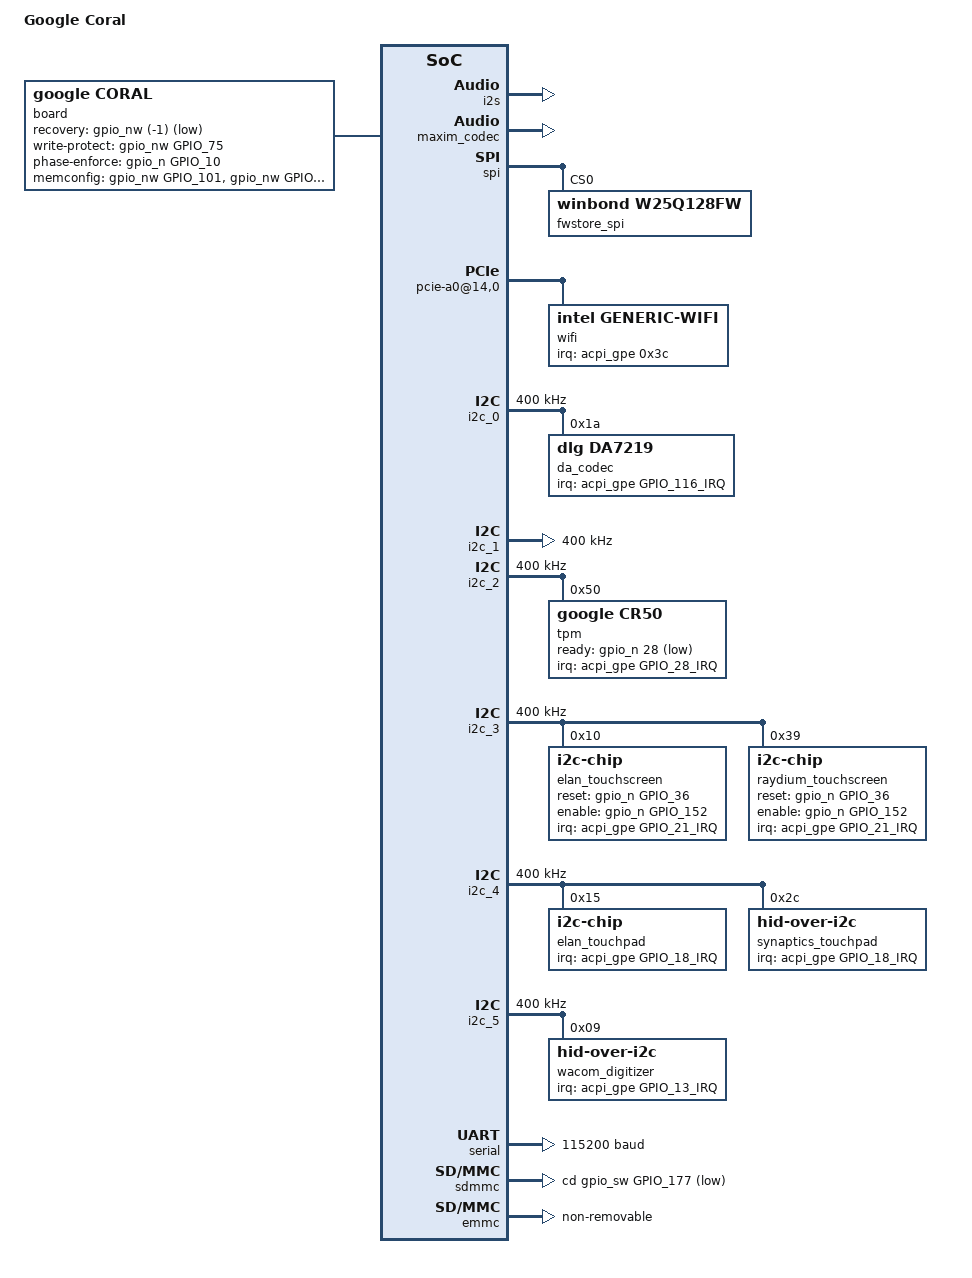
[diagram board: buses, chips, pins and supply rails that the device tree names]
/* SPDX-License-Identifier: GPL-2.0 */
/dts-v1/;

#include <dt-bindings/gpio/gpio.h>
#include <dt-bindings/gpio/x86-gpio.h>

/include/ "skeleton.dtsi"
/include/ "keyboard.dtsi"
/include/ "reset.dtsi"
/include/ "rtc.dtsi"

#include "tsc_timer.dtsi"

#if defined(CONFIG_CHROMEOS_VBOOT) && defined(CONFIG_ROM_SIZE)
#include "chromeos-x86.dtsi"
#include "flashmap-x86-ro.dtsi"
#include "flashmap-16mb-rw.dtsi"
#endif

#include <dt-bindings/clock/intel-clock.h>
#include <dt-bindings/interrupt-controller/irq.h>
#include <dt-bindings/interrupt-controller/x86-irq.h>
#include <asm/e820.h>
#include <asm/intel_pinctrl_defs.h>
#include <asm/arch-apollolake/cpu.h>
#include <asm/arch-apollolake/gpe.h>
#include <asm/arch-apollolake/gpio.h>
#include <asm/arch-apollolake/iomap.h>
#include <asm/arch-apollolake/pm.h>
#include <dt-bindings/clock/intel-clock.h>
#include <asm/arch-apollolake/fsp/fsp_m_upd.h>
#include <asm/arch-apollolake/fsp/fsp_s_upd.h>
#include <dt-bindings/sound/nhlt.h>

/ {
	model = "Google Coral";
	compatible = "google,coral", "intel,apollolake";

	aliases {
		cros-ec0 = &cros_ec;
		fsp = &fsp_s;
		spi0 = &spi;
		i2c0 = &i2c_0;
		i2c1 = &i2c_1;
		i2c2 = &i2c_2;
		i2c3 = &i2c_3;
		i2c4 = &i2c_4;
		i2c5 = &i2c_5;
		i2c6 = &i2c_6;
		i2c7 = &i2c_7;
		mmc0 = &emmc;
		mmc1 = &sdmmc;
	};

	board: board {
		compatible = "google,coral";
		recovery-gpios = <&gpio_nw (-1) GPIO_ACTIVE_LOW>;
		write-protect-gpios = <&gpio_nw GPIO_75 GPIO_ACTIVE_HIGH>;
		phase-enforce-gpios = <&gpio_n GPIO_10 GPIO_ACTIVE_HIGH>;
		memconfig-gpios = <&gpio_nw GPIO_101 GPIO_ACTIVE_HIGH
			&gpio_nw GPIO_102 GPIO_ACTIVE_HIGH
			&gpio_n GPIO_38 GPIO_ACTIVE_HIGH
			&gpio_n GPIO_45 GPIO_ACTIVE_HIGH>;

		/*
		 * This is used for reef only:
		 *
		 * skuconfig-gpios = <&gpio_nw GPIO_16 GPIO_ACTIVE_HIGH
		 *	&gpio_nw GPIO_17 GPIO_ACTIVE_HIGH>;
		 */
		smbios {
			/* Type 1 table */
			system {
				manufacturer = "Google";
				product = "Coral";
				version = "rev2";
				serial = "123456789";
				sku = "sku3";
				family = "Google_Coral";
			};

			/* Type 2 table */
			baseboard {
				manufacturer = "Google";
				product = "Coral";
				asset-tag = "ABC123";
			};

			/* Type 3 table */
			chassis {
				manufacturer = "Google";
			};
		};
	};

	config {
	       silent_console = <0>;
	};

	chosen {
		stdout-path = &serial;
		e820-entries = /bits/ 64 <
			IOMAP_P2SB_BAR IOMAP_P2SB_SIZE E820_RESERVED
			MCH_BASE_ADDRESS     MCH_SIZE  E820_RESERVED>;
		u-boot,acpi-ssdt-order = <&cpu_0 &cpu_1 &cpu_2 &cpu_3
			&i2c_0 &i2c_1 &i2c_2 &i2c_3 &i2c_4 &i2c_5
			&sdmmc &maxim_codec &wifi &da_codec &tpm
			&elan_touchscreen &raydium_touchscreen
			&elan_touchpad &synaptics_touchpad &wacom_digitizer>;
		u-boot,acpi-dsdt-order = <&board &lpc>;
	};

	clk: clock {
		compatible = "intel,apl-clk";
		#clock-cells = <1>;
		bootph-some-ram;
	};

	cpus {
		bootph-some-ram;
		#address-cells = <1>;
		#size-cells = <0>;

		cpu_0: cpu@0 {
			bootph-some-ram;
			bootph-pre-ram;
			device_type = "cpu";
			compatible = "intel,apl-cpu";
			reg = <0>;
			intel,apic-id = <0>;
		};

		cpu_1: cpu@1 {
			device_type = "cpu";
			compatible = "intel,apl-cpu";
			reg = <1>;
			intel,apic-id = <2>;
		};

		cpu_2: cpu@2 {
			device_type = "cpu";
			compatible = "intel,apl-cpu";
			reg = <2>;
			intel,apic-id = <4>;
		};

		cpu_3: cpu@3 {
			device_type = "cpu";
			compatible = "intel,apl-cpu";
			reg = <3>;
			intel,apic-id = <6>;
		};

	};

	acpi_gpe: general-purpose-events {
		bootph-some-ram;
		reg = <IOMAP_ACPI_BASE IOMAP_ACPI_SIZE>;
		compatible = "intel,acpi-gpe";
		interrupt-controller;
		#interrupt-cells = <2>;
	};

	coreboot-video {
		/* This will only activate when booted from coreboot */
		compatible = "coreboot-fb";
	};

	keyboard {
		intel,duplicate-por;
	};

	pci {
		compatible = "pci-x86";
		#address-cells = <3>;
		#size-cells = <2>;
		bootph-all;
		ranges = <0x02000000 0x0 0xc0000000 0xc0000000 0 0x10000000
			0x42000000 0x0 0xb0000000 0xb0000000 0 0x10000000
			0x01000000 0x0 0x1000 0x1000 0 0xefff>;
		u-boot,skip-auto-config-until-reloc;

		host_bridge: host-bridge@0,0 {
			bootph-all;
			reg = <0x00000000 0 0 0 0>;
			compatible = "intel,apl-hostbridge";
			pciex-region-size = <0x10000000>;
			fspm,training-delay = <21>;
			/*
			 * Parameters used by the FSP-S binary blob. This is
			 * really unfortunate since these parameters mostly
			 * relate to drivers but we need them in one place. We
			 * could put them in the driver nodes easily, but then
			 * would have to scan each node to find them. So just
			 * dump them here for now.
			 */
			fsp_s: fsp-s {
			};
			fsp_m: fsp-m {
				bootph-pre-ram;
			};

			nhlt {
				intel,dmic-channels = <4>;
			};
		};

		punit@0,1 {
			bootph-some-ram;
			bootph-pre-ram;
			reg = <0x00000800 0 0 0 0>;
			compatible = "intel,apl-punit";
		};

		gma@2,0 {
			bootph-some-ram;
			reg = <0x00001000 0 0 0 0>;
			compatible = "fsp-fb";
		};

		p2sb: p2sb@d,0 {
			bootph-all;
			reg = <0x02006810 0 0 0 0>;
			compatible = "intel,p2sb";
			early-regs = <IOMAP_P2SB_BAR 0x100000>;
			pci,no-autoconfig;

			n {
				compatible = "intel,apl-pinctrl";
				bootph-all;
				intel,p2sb-port-id = <PID_GPIO_N>;
				acpi,path = "\\_SB.GPO0";
				gpio_n: gpio-n {
					compatible = "intel,gpio";
					bootph-all;
					gpio-controller;
					#gpio-cells = <2>;
					linux-name = "INT3452:00";
				};
			};

			nw {
				bootph-all;
				compatible = "intel,apl-pinctrl";
				intel,p2sb-port-id = <PID_GPIO_NW>;
				#gpio-cells = <2>;
				acpi,path = "\\_SB.GPO1";
				gpio_nw: gpio-nw {
					compatible = "intel,gpio";
					bootph-all;
					gpio-controller;
					#gpio-cells = <2>;
					linux-name = "INT3452:01";
				};
			};

			w {
				bootph-all;
				compatible = "intel,apl-pinctrl";
				intel,p2sb-port-id = <PID_GPIO_W>;
				#gpio-cells = <2>;
				acpi,path = "\\_SB.GPO2";
				gpio_w: gpio-w {
					compatible = "intel,gpio";
					bootph-all;
					gpio-controller;
					#gpio-cells = <2>;
					linux-name = "INT3452:02";
				};
			};

			sw {
				bootph-all;
				compatible = "intel,apl-pinctrl";
				intel,p2sb-port-id = <PID_GPIO_SW>;
				#gpio-cells = <2>;
				acpi,path = "\\_SB.GPO3";
				gpio_sw: gpio-sw {
					compatible = "intel,gpio";
					bootph-all;
					gpio-controller;
					#gpio-cells = <2>;
					linux-name = "INT3452:03";
				};
			};

			itss {
				bootph-all;
				compatible = "intel,itss";
				intel,p2sb-port-id = <PID_ITSS>;
				intel,pmc-routes = <
					PMC_GPE_SW_31_0 GPIO_GPE_SW_31_0
					PMC_GPE_SW_63_32 GPIO_GPE_SW_63_32
					PMC_GPE_NW_31_0 GPIO_GPE_NW_31_0
					PMC_GPE_NW_63_32 GPIO_GPE_NW_63_32
					PMC_GPE_NW_95_64 GPIO_GPE_NW_95_64
					PMC_GPE_N_31_0 GPIO_GPE_N_31_0
					PMC_GPE_N_63_32 GPIO_GPE_N_63_32
					PMC_GPE_W_31_0 GPIO_GPE_W_31_0>;
			};
		};

		pmc@d,1 {
			bootph-all;
			reg = <0x6900 0 0 0 0>;

			/*
			 * Values for BAR0, BAR2 and ACPI_BASE for when PCI
			 * auto-configure is not available
			 */
			early-regs = <0xfe042000 0x2000
				0xfe044000 0x2000
				IOMAP_ACPI_BASE IOMAP_ACPI_SIZE>;
			compatible = "intel,apl-pmc";
			gpe0-dwx-mask = <0xf>;
			gpe0-dwx-shift-base = <4>;

			/*
			 * GPE configuration
			 * Note that GPE events called out in ASL code rely on
			 * this route, i.e., if this route changes then the
			 * affected GPE * offset bits also need to be changed.
			 * This sets the PMC register GPE_CFG fields.
			 */
			gpe0-dw = <PMC_GPE_N_31_0
				PMC_GPE_N_63_32
				PMC_GPE_SW_31_0>;
			gpe0-sts = <0x20>;
			gpe0-en = <0x30>;
		};

		audio@e,0 {
			reg = <0x7000 0 0 0 0>;
			compatible = "simple-bus";
			acpi,name = "HDAS";
			i2s {
				compatible = "fred";
			};
			maxim_codec: maxim-codec {
				compatible = "maxim,max98357a";
				acpi,ddn = "Maxim Integrated 98357A Amplifier";
				sdmode-gpios = <&gpio_n GPIO_76 GPIO_ACTIVE_HIGH>;
				sdmode-delay = <5>;
				acpi,name = "MAXM";
				acpi,hid = "MX98357A";
				acpi,audio-link = <AUDIO_LINK_SSP5>;
			};
		};

		spi: fast-spi@d,2 {
			bootph-some-ram;
			bootph-pre-ram;
			reg = <0x02006a10 0 0 0 0>;
			#address-cells = <1>;
			#size-cells = <0>;
			compatible = "intel,fast-spi";
			early-regs = <IOMAP_SPI_BASE 0x1000>;
			intel,hardware-seq = <1>;

			fwstore_spi: spi-flash@0 {
				#size-cells = <1>;
				#address-cells = <1>;
				bootph-some-ram;
				bootph-pre-ram;
				reg = <0>;
				m25p,fast-read;
				compatible = "winbond,w25q128fw",
					 "jedec,spi-nor";
				rw-mrc-cache {
					label = "rw-mrc-cache";
					reg = <0x008e0000 0x00010000>;
					bootph-some-ram;
					bootph-pre-ram;
				};
				rw-var-mrc-cache {
					label = "rw-mrc-cache";
					reg = <0x008f0000 0x0001000>;
					bootph-some-ram;
					bootph-pre-ram;
				};
			};
		};

		/* WiFi */
		pcie-a0@14,0 {
			reg = <0x0000a000 0 0 0 0>;
			acpi,name = "RP01";
			wifi: wifi {
				compatible = "intel,generic-wifi";
				acpi,ddn = "Intel WiFi";
				acpi,name = "WF00";
				acpi,wake = <GPE0_DW3_00>;
				interrupts-extended = <&acpi_gpe 0x3c 0>;
			};
		};

		i2c_0: i2c2@16,0 {
			compatible = "intel,apl-i2c";
			reg = <0x0200b010 0 0 0 0>;
			clocks = <&clk CLK_I2C>;
			i2c-scl-rising-time-ns = <104>;
			i2c-scl-falling-time-ns = <52>;
			clock-frequency = <400000>;
			i2c,speeds = <100000 400000 1000000>;
			#address-cells = <1>;
			#size-cells = <0>;
			da_codec: da-codec {
				reg = <0x1a>;
				compatible = "dlg,da7219";
				interrupts-extended = <&acpi_gpe GPIO_116_IRQ
					(IRQ_TYPE_LEVEL_LOW | X86_IRQ_TYPE_SHARED)>;
				acpi,name = "DLG7";
				acpi,ddn = "Dialog Semiconductor DA7219 Audio Codec";
				acpi,audio-link = <AUDIO_LINK_SSP1>;
				dlg,micbias-lvl = <2600>;
				dlg,mic-amp-in-sel = "diff";
				da7219_aad {
					dlg,btn-cfg = <50>;
					dlg,mic-det-thr = <500>;
					dlg,jack-ins-deb = <20>;
					dlg,jack-det-rate = "32ms_64ms";
					dlg,jack-rem-deb = <1>;
					dlg,a-d-btn-thr = <0xa>;
					dlg,d-b-btn-thr = <0x16>;
					dlg,b-c-btn-thr = <0x21>;
					dlg,c-mic-btn-thr = <0x3e>;
					dlg,btn-avg = <4>;
					dlg,adc-1bit-rpt = <1>;
				};
			};
		};

		i2c_1: i2c2@16,1 {
			compatible = "intel,apl-i2c";
			reg = <0x0200b110 0 0 0 0>;
			clocks = <&clk CLK_I2C>;
			clock-frequency = <400000>;
			i2c,speeds = <100000 400000 1000000 3400000>;
			i2c-scl-rising-time-ns = <52>;
			i2c-scl-falling-time-ns = <52>;
		};

		i2c_2: i2c2@16,2 {
			compatible = "intel,apl-i2c", "snps,designware-i2c-pci";
			reg = <0x0200b210 0 0 0 0>;
			early-regs = <IOMAP_I2C2_BASE 0x1000>;
			bootph-some-ram;
			#address-cells = <1>;
			#size-cells = <0>;
			clock-frequency = <400000>;
			i2c,speeds = <100000 400000 1000000>;
			clocks = <&clk CLK_I2C>;
			i2c-scl-rising-time-ns = <57>;
			i2c-scl-falling-time-ns = <28>;
			tpm: tpm@50 {
				reg = <0x50>;
				compatible = "google,cr50";
				bootph-some-ram;
				u-boot,i2c-offset-len = <0>;
				ready-gpios = <&gpio_n 28 GPIO_ACTIVE_LOW>;
				interrupts-extended = <&acpi_gpe GPIO_28_IRQ
					 IRQ_TYPE_EDGE_FALLING>;
				acpi,hid = "GOOG0005";
				acpi,ddn = "I2C TPM";
				acpi,name = "TPMI";
			};
		};

		i2c_3: i2c2@16,3 {
			compatible = "intel,apl-i2c";
			reg = <0x0200b310 0 0 0 0>;
			#address-cells = <1>;
			#size-cells = <0>;
			clocks = <&clk CLK_I2C>;
			i2c-scl-rising-time-ns = <76>;
			i2c-scl-falling-time-ns = <164>;
			clock-frequency = <400000>;
			i2c,speeds = <100000 400000>;
			elan_touchscreen: elan-touchscreen@10 {
				compatible = "i2c-chip";
				reg = <0x10>;
				acpi,hid = "ELAN0001";
				acpi,ddn = "ELAN Touchscreen";
				interrupts-extended = <&acpi_gpe GPIO_21_IRQ
					IRQ_TYPE_EDGE_FALLING>;
				linux,probed;
				reset-gpios = <&gpio_n GPIO_36 GPIO_ACTIVE_HIGH>;
				reset-delay-ms = <20>;
				enable-gpios = <&gpio_n GPIO_152 GPIO_ACTIVE_HIGH>;
				enable-delay-ms = <1>;
				acpi,has-power-resource;
			};

			raydium_touchscreen: raydium-touchscreen@39 {
				compatible = "i2c-chip";
				reg = <0x39>;
				acpi,hid = "RAYD0001";
				acpi,ddn = "Raydium Touchscreen";
				interrupts-extended = <&acpi_gpe GPIO_21_IRQ
					IRQ_TYPE_EDGE_FALLING>;
				linux,probed;
				reset-gpios = <&gpio_n GPIO_36 GPIO_ACTIVE_HIGH>;
				reset-delay-ms = <1>;
				enable-gpios = <&gpio_n GPIO_152 GPIO_ACTIVE_HIGH>;
				enable-delay-ms = <50>;
				acpi,has-power-resource;
			};
		};

		i2c_4: i2c2@17,0 {
			compatible = "intel,apl-i2c";
			reg = <0x0200b810 0 0 0 0>;
			#address-cells = <1>;
			#size-cells = <0>;
			clocks = <&clk CLK_I2C>;
			i2c-sda-hold-time-ns = <350>;
			i2c-scl-rising-time-ns = <114>;
			i2c-scl-falling-time-ns = <164>;
			clock-frequency = <400000>;
			i2c,speeds = <100000 400000>;
			elan_touchpad: elan-touchpad@15 {
				compatible = "i2c-chip";
				reg = <0x15>;
				u-boot,i2c-offset-len = <0>;
				acpi,hid = "ELAN0000";
				acpi,ddn = "ELAN Touchpad";
				interrupts-extended = <&acpi_gpe GPIO_18_IRQ
					 IRQ_TYPE_EDGE_FALLING>;
				acpi,wake = <GPE0_DW1_15>;
				linux,probed;
			};
			synaptics_touchpad: synaptics-touchpad@2c {
				compatible = "hid-over-i2c";
				reg = <0x2c>;
				acpi,hid = "PNP0C50";
				acpi,ddn = "Synaptics Touchpad";
				interrupts-extended = <&acpi_gpe GPIO_18_IRQ
					 IRQ_TYPE_EDGE_FALLING>;
				acpi,wake = <GPE0_DW1_15>;
				linux,probed;
				hid-descr-addr = <0x20>;
			};
		};

		i2c_5: i2c2@17,1 {
			compatible = "intel,apl-i2c";
			reg = <0x0200b910 0 0 0 0>;
			#address-cells = <1>;
			#size-cells = <0>;
			clocks = <&clk CLK_I2C>;
			i2c-scl-rising-time-ns = <76>;
			i2c-scl-falling-time-ns = <164>;
			clock-frequency = <400000>;
			i2c,speeds = <100000 400000 1000000>;
			wacom_digitizer: wacom-digitizer@9 {
				compatible = "hid-over-i2c";
				reg = <0x9>;
				acpi,hid = "WCOM50C1";
				acpi,ddn = "WCOM Digitizer";
				interrupts-extended = <&acpi_gpe GPIO_13_IRQ
					(IRQ_TYPE_LEVEL_LOW | X86_IRQ_TYPE_SHARED)>;
				hid-descr-addr = <0x1>;
			};
		};

		i2c_6: i2c2@17,2 {
			compatible = "intel,apl-i2c";
			reg = <0x0200ba10 0 0 0 0>;
			clocks = <&clk CLK_I2C>;
			status = "disabled";
		};

		i2c_7: i2c2@17,3 {
			compatible = "intel,apl-i2c";
			reg = <0x0200bb10 0 0 0 0>;
			clocks = <&clk CLK_I2C>;
			status = "disabled";
		};

		serial: serial@18,2 {
			reg = <0x0200c210 0 0 0 0>;
			bootph-all;
			compatible = "intel,apl-ns16550";
			early-regs = <0xde000000 0x20>;
			reg-shift = <2>;
			clock-frequency = <1843200>;
			current-speed = <115200>;
			acpi,name = "URT3";
			pci,no-autoconfig;
		};

		sdmmc: sdmmc@1b,0 {
			reg = <0x0000d800 0 0 0 0>;
			compatible = "intel,apl-sd";
			cd-gpios = <&gpio_sw GPIO_177 GPIO_ACTIVE_LOW>;
			acpi,name = "SDCD";
		};

		emmc: emmc@1c,0 {
			reg = <0x0000e000 0 0 0 0>;
			compatible = "intel,apl-emmc";
			non-removable;
		};

		pch: pch@1f,0 {
			reg = <0x0000f800 0 0 0 0>;
			compatible = "intel,apl-pch";
			bootph-all;
			#address-cells = <1>;
			#size-cells = <1>;

			lpc: lpc {
				compatible = "intel,apl-lpc";
				#address-cells = <1>;
				#size-cells = <0>;
				bootph-all;
				cros_ec: cros-ec {
					bootph-some-ram;
					bootph-verify;
					compatible = "google,cros-ec-lpc";
					reg = <0x204 1 0x200 1 0x880 0x80>;

					/*
					 * Describes the flash memory within
					 * the EC
					 */
					#address-cells = <1>;
					#size-cells = <1>;
					flash@8000000 {
						reg = <0x08000000 0x20000>;
						erase-value = <0xff>;
					};
				};
			};
		};
	};

};

&host_bridge {
	/*
	 * PL1 override 12000 mW: the energy calculation is wrong with the
	 * current VR solution. Experiments show that SoC TDP max (6W) can be
	 * reached when RAPL PL1 is set to 12W. Set RAPL PL2 to 15W.
	 */
	tdp-pl-override-mw = <12000 15000>;

	early-pads = <
		/* These two are for the debug UART */
		GPIO_46 /* UART2 RX */
			(PAD_CFG0_MODE_NF1 | PAD_CFG0_LOGICAL_RESET_DEEP)
			(PAD_CFG1_PULL_NATIVE | PAD_CFG1_IOSSTATE_TX_LAST_RXE)

		GPIO_47 /* UART2 TX */
			(PAD_CFG0_MODE_NF1 | PAD_CFG0_LOGICAL_RESET_DEEP)
			(PAD_CFG1_PULL_NATIVE | PAD_CFG1_IOSSTATE_TX_LAST_RXE)

		GPIO_75 /* I2S1_BCLK -- PCH_WP */
			(PAD_CFG0_MODE_GPIO | PAD_CFG0_LOGICAL_RESET_DEEP)
			(PAD_CFG1_PULL_UP_20K | PAD_CFG1_IOSSTATE_TXD_RXE)

		/* I2C2 - TPM  */
		GPIO_128 /* LPSS_I2C2_SDA */
			(PAD_CFG0_MODE_NF1 | PAD_CFG0_LOGICAL_RESET_DEEP)
			(PAD_CFG1_PULL_UP_2K | PAD_CFG1_IOSSTATE_TX_LAST_RXE)
		GPIO_129 /* LPSS_I2C2_SCL */
			(PAD_CFG0_MODE_NF1 | PAD_CFG0_LOGICAL_RESET_DEEP)
			(PAD_CFG1_PULL_UP_2K | PAD_CFG1_IOSSTATE_TX_LAST_RXE)
		GPIO_28 /* TPM IRQ */
			(PAD_CFG0_MODE_GPIO | PAD_CFG0_LOGICAL_RESET_DEEP |
				PAD_CFG0_TX_DISABLE | PAD_CFG0_ROUTE_IOAPIC |
				PAD_CFG0_TRIG_LEVEL | PAD_CFG0_RX_POL_INVERT)
			(PAD_CFG1_PULL_NONE | PAD_CFG1_IOSSTATE_TXD_RXE)
		PAD_CFG_GPI(GPIO_25, UP_20K, DEEP)	 /* unused */

		/*
		 * WLAN_PE_RST - default to deasserted just in case FSP
		 * misbehaves
		 */
		GPIO_122  /* SIO_SPI_2_RXD */
			(PAD_CFG0_MODE_GPIO | PAD_CFG0_LOGICAL_RESET_DEEP |
				PAD_CFG0_RX_DISABLE | 0)
			(PAD_CFG1_PULL_NONE | PAD_CFG1_IOSSTATE_TX_LAST_RXE)

		/* LPC */
		PAD_CFG_NF(LPC_ILB_SERIRQ, UP_20K, DEEP, NF1) /* LPC_SERIRQ */
		PAD_CFG_NF(LPC_CLKOUT0, NONE, DEEP, NF1) /* LPC_CLKOUT0 */
		PAD_CFG_NF(LPC_CLKOUT1, UP_20K, DEEP, NF1)
		PAD_CFG_NF(LPC_AD0, UP_20K, DEEP, NF1)	 /* LPC_AD0 */
		PAD_CFG_NF(LPC_AD1, UP_20K, DEEP, NF1)	 /* LPC_AD1 */
		PAD_CFG_NF(LPC_AD2, UP_20K, DEEP, NF1)	 /* LPC_AD2 */
		PAD_CFG_NF(LPC_AD3, UP_20K, DEEP, NF1)	 /* LPC_AD3 */
		PAD_CFG_NF(LPC_CLKRUNB, UP_20K, DEEP, NF1) /* LPC_CLKRUN_N */
		PAD_CFG_NF(LPC_FRAMEB, NATIVE, DEEP, NF1) /* LPC_FRAME_N */

		PAD_CFG_GPI(GPIO_101, NONE, DEEP) /* FST_IO2 -- MEM_CONFIG0 */
		PAD_CFG_GPI(GPIO_102, NONE, DEEP) /* FST_IO3 -- MEM_CONFIG1 */
		PAD_CFG_GPI(GPIO_38, NONE, DEEP) /* LPSS_UART0_RXD - MEM_CONFIG2*/
		PAD_CFG_GPI(GPIO_45, NONE, DEEP) /* LPSS_UART1_CTS - MEM_CONFIG3 */
		>;
};

&fsp_m {
	fspm,package = <PACKAGE_BGA>;
	fspm,profile = <PROFILE_LPDDR4_2400_24_22_22>;
	fspm,memory-down = <MEMORY_DOWN_YES>;
	fspm,scrambler-support = <1>;
	fspm,interleaved-mode = <INTERLEAVED_MODE_ENABLE>;
	fspm,channel-hash-mask = <0x36>;
	fspm,slice-hash-mask = <0x9>;
	fspm,dual-rank-support-enable = <1>;
	fspm,low-memory-max-value = <2048>;
	fspm,ch0-rank-enable = <1>;
	fspm,ch0-device-width = <CHX_DEVICE_WIDTH_X16>;
	fspm,ch0-dram-density = <CHX_DEVICE_DENSITY_8GB>;
	fspm,ch0-option = <(CHX_OPTION_RANK_INTERLEAVING |
			   CHX_OPTION_BANK_ADDRESS_HASHING_ENABLE)>;
	fspm,ch0-odt-config = <CHX_ODT_CONFIG_DDR4_CA_ODT>;
	fspm,ch1-rank-enable = <1>;
	fspm,ch1-device-width = <CHX_DEVICE_WIDTH_X16>;
	fspm,ch1-dram-density = <CHX_DEVICE_DENSITY_8GB>;
	fspm,ch1-option = <(CHX_OPTION_RANK_INTERLEAVING |
			   CHX_OPTION_BANK_ADDRESS_HASHING_ENABLE)>;
	fspm,ch1-odt-config = <CHX_ODT_CONFIG_DDR4_CA_ODT>;
	fspm,ch2-rank-enable = <1>;
	fspm,ch2-device-width = <CHX_DEVICE_WIDTH_X16>;
	fspm,ch2-dram-density = <CHX_DEVICE_DENSITY_8GB>;
	fspm,ch2-option = <(CHX_OPTION_RANK_INTERLEAVING |
			   CHX_OPTION_BANK_ADDRESS_HASHING_ENABLE)>;
	fspm,ch2-odt-config = <CHX_ODT_CONFIG_DDR4_CA_ODT>;
	fspm,ch3-rank-enable = <1>;
	fspm,ch3-device-width = <CHX_DEVICE_WIDTH_X16>;
	fspm,ch3-dram-density = <CHX_DEVICE_DENSITY_8GB>;
	fspm,ch3-option = <(CHX_OPTION_RANK_INTERLEAVING |
			   CHX_OPTION_BANK_ADDRESS_HASHING_ENABLE)>;
	fspm,ch3-odt-config = <CHX_ODT_CONFIG_DDR4_CA_ODT>;
	fspm,fspm,skip-cse-rbp = <1>;

	fspm,ch-bit-swizzling = /bits/ 8 <
		/* LP4_PHYS_CH0A */

		/* DQA[0:7] pins of LPDDR4 module */
		6 7 5 4 3 1 0 2
		/* DQA[8:15] pins of LPDDR4 module */
		12 10 11 13 14 8 9 15
		/* DQB[0:7] pins of LPDDR4 module with offset of 16 */
		16 22 23 20 18 17 19 21
		/* DQB[7:15] pins of LPDDR4 module with offset of 16 */
		30 28 29 25 24 26 27 31

		/* LP4_PHYS_CH0B */
		/* DQA[0:7] pins of LPDDR4 module */
		7 3 5 2 6 0 1 4
		/* DQA[8:15] pins of LPDDR4 module */
		 9 14 12 13 10 11 8 15
		/* DQB[0:7] pins of LPDDR4 module with offset of 16 */
		20 22 23 16 19 17 18 21
		/* DQB[7:15] pins of LPDDR4 module with offset of 16 */
		28 24 26 27 29 30 31 25

		/* LP4_PHYS_CH1A */

		/* DQA[0:7] pins of LPDDR4 module */
		2 1 6 7 5 4 3 0
		/* DQA[8:15] pins of LPDDR4 module */
		11 10 8 9 12 15 13 14
		/* DQB[0:7] pins of LPDDR4 module with offset of 16 */
		17 23 19 16 21 22 20 18
		/* DQB[7:15] pins of LPDDR4 module with offset of 16 */
		31 29 26 25 28 27 24 30

		/* LP4_PHYS_CH1B */

		/* DQA[0:7] pins of LPDDR4 module */
		4 3 7 5 6 1 0 2
		/* DQA[8:15] pins of LPDDR4 module */
		15 9 8 11 14 13 12 10
		/* DQB[0:7] pins of LPDDR4 module with offset of 16 */
		20 23 22 21 18 19 16 17
		/* DQB[7:15] pins of LPDDR4 module with offset of 16 */
		25 28 30 31 26 27 24 29>;

	fspm,dimm0-spd-address = <0>;
	fspm,dimm1-spd-address = <0>;
	fspm,skip-cse-rbp = <1>;
	fspm,enable-s3-heci2 = <0>;
};

&fsp_s {
	bootph-some-ram;

	fsps,ish-enable = <0>;
	fsps,enable-sata = <0>;
	fsps,i2c6-enable = <I2CX_ENABLE_DISABLED>;
	fsps,i2c7-enable = <I2CX_ENABLE_DISABLED>;
	fsps,hsuart3-enable = <HSUARTX_ENABLE_DISABLED>;
	fsps,spi1-enable = <SPIX_ENABLE_DISABLED>;
	fsps,spi2-enable = <SPIX_ENABLE_DISABLED>;
	fsps,sdio-enabled = <0>;

	/* Disable unused clkreq of PCIe root ports */
	fsps,pcie-rp-clk-req-number = /bits/ 8 <0 /* wifi/bt */
		CLKREQ_DISABLED
		CLKREQ_DISABLED
		CLKREQ_DISABLED
		CLKREQ_DISABLED
		CLKREQ_DISABLED>;

	/*
	 * GPIO for PERST_0
	 * If the Board has PERST_0 signal, assign the GPIO
	 * If the Board does not have PERST_0, assign GPIO_PRT0_UDEF
	 *
	 * This are not used yet, so comment them out for now.
	 *
	 * prt0-gpio = <GPIO_122>;
	 *
	 * GPIO for SD card detect
	 * sdcard-cd-gpio = <GPIO_177>;
	 */

	/*
	 * Order is emmc-tx-data-cntl1, emmc-tx-data-cntl2,
	 * emmc-rx-cmd-data-cntl1, emmc-rx-cmd-data-cntl2
	 *
	 * EMMC TX DATA Delay 1
	 * Refer to EDS-Vol2-22.3
	 * [14:8] steps of delay for HS400, each 125ps
	 * [6:0] steps of delay for SDR104/HS200, each 125ps
	 */

	/*
	 * EMMC TX DATA Delay 2
	 * Refer to EDS-Vol2-22.3.
	 * [30:24] steps of delay for SDR50, each 125ps
	 * [22:16] steps of delay for DDR50, each 125ps
	 * [14:8] steps of delay for SDR25/HS50, each 125ps
	 * [6:0] steps of delay for SDR12, each 125ps
	 */

	/*
	 * EMMC RX CMD/DATA Delay 1
	 * Refer to EDS-Vol2-22.3.
	 * [30:24] steps of delay for SDR50, each 125ps
	 * [22:16] steps of delay for DDR50, each 125ps
	 * [14:8] steps of delay for SDR25/HS50, each 125ps
	 * [6:0] steps of delay for SDR12, each 125ps
	 */

	/*
	 * EMMC RX CMD/DATA Delay 2
	 * Refer to EDS-Vol2-22.3.
	 * [17:16] stands for Rx Clock before Output Buffer
	 * [14:8] steps of delay for Auto Tuning Mode, each 125ps
	 * [6:0] steps of delay for HS200, each 125ps
	 */
	/* Enable DPTF */
	fsps,dptf-enabled;
	fsps,emmc-tx-data-cntl1 = <0x0c16>;
	fsps,emmc-tx-data-cntl2 = <0x28162828>;
	fsps,emmc-rx-cmd-data-cntl1 = <0x00181717>;
	fsps,emmc-rx-cmd-data-cntl2 = <0x10008>;

	/* Enable Audio Clock and Power gating */
	fsps,hd-audio-clk-gate = <1>;
	fsps,hd-audio-pwr-gate = <1>;
	fsps,bios-cfg-lock-down = <1>;

	/* Enable WiFi */
	fsps,pcie-root-port-en = [01 00 00 00 00 00];
	fsps,pcie-rp-hot-plug = [00 00 00 00 00 00];

	fsps,skip-mp-init = <1>;
	fsps,spi-eiss = <0>;
	fsps,rtc-lock = <0>;

	fsps,port-usb20-per-port-pe-txi-set = [07 07 06 06 07 07 07 01];
	fsps,port-usb20-per-port-txi-set = [00 02 00 00 00 00 00 03];

	fsps,lpss-s0ix-enable = <1>;
	fsps,usb-otg = <0>;
	fsps,monitor-mwait-enable = <0>;

	/*
	 * TODO(sjg@chromium.org): Move this to the I2C nodes
	 * Intel Common SoC Config
	 *+-------------------+---------------------------+
	 *| Field             |  Value                    |
	 *+-------------------+---------------------------+
	 *| I2C0              | Audio                     |
	 *| I2C2              | TPM                       |
	 *| I2C3              | Touchscreen               |
	 *| I2C4              | Trackpad                  |
	 *| I2C5              | Digitizer                 |
	 *+-------------------+---------------------------+
	 *
	common_soc_config" = "{
		.i2c[0] = {
			.speed = I2C_SPEED_FAST,
			.rise-time-ns = 104,
			.fall-time-ns = 52,
		},
		.i2c[2] = {
			.early_init = 1,
			.speed = I2C_SPEED_FAST,
			.rise-time-ns = 57,
			.fall-time-ns = 28,
		},
		.i2c[3] = {
			.speed = I2C_SPEED_FAST,
			.rise-time-ns = 76,
			.fall-time-ns = 164,
		},
		.i2c[4] = {
			.speed = I2C_SPEED_FAST,
			.rise-time-ns = 114,
			.fall-time-ns = 164,
			.data_hold_time_ns = 350,
		},
		.i2c[5] = {
			.speed = I2C_SPEED_FAST,
			.rise-time-ns = 152,
			.fall-time-ns = 30,
		},
	}"
	*/

	/* Minimum SLP S3 assertion width 28ms */
	slp-s3-assertion-width-usecs = <28000>;

	pads = <
		/* PCIE_WAKE[0:3]_N */
		PAD_CFG_GPI_SCI_LOW(GPIO_205, UP_20K, DEEP, EDGE_SINGLE) /* WLAN */
		PAD_CFG_GPI(GPIO_206, UP_20K, DEEP)	 /* Unused */
		PAD_CFG_GPI(GPIO_207, UP_20K, DEEP)	 /* Unused */
		PAD_CFG_GPI(GPIO_208, UP_20K, DEEP)	 /* Unused */

		/* EMMC interface */
		PAD_CFG_NF(GPIO_156, DN_20K, DEEP, NF1) /* EMMC_CLK */
		PAD_CFG_NF_IOSSTATE_IOSTERM(GPIO_157, UP_20K, DEEP, NF1, HIZCRX1, DISPUPD) /* EMMC_D0 */
		PAD_CFG_NF_IOSSTATE_IOSTERM(GPIO_158, UP_20K, DEEP, NF1, HIZCRX1, DISPUPD) /* EMMC_D1 */
		PAD_CFG_NF_IOSSTATE_IOSTERM(GPIO_159, UP_20K, DEEP, NF1, HIZCRX1, DISPUPD) /* EMMC_D2 */
		PAD_CFG_NF_IOSSTATE_IOSTERM(GPIO_160, UP_20K, DEEP, NF1, HIZCRX1, DISPUPD) /* EMMC_D3 */
		PAD_CFG_NF_IOSSTATE_IOSTERM(GPIO_161, UP_20K, DEEP, NF1, HIZCRX1, DISPUPD) /* EMMC_D4 */
		PAD_CFG_NF_IOSSTATE_IOSTERM(GPIO_162, UP_20K, DEEP, NF1, HIZCRX1, DISPUPD) /* EMMC_D5 */
		PAD_CFG_NF_IOSSTATE_IOSTERM(GPIO_163, UP_20K, DEEP, NF1, HIZCRX1, DISPUPD) /* EMMC_D6 */
		PAD_CFG_NF_IOSSTATE_IOSTERM(GPIO_164, UP_20K, DEEP, NF1, HIZCRX1, DISPUPD) /* EMMC_D7 */
		PAD_CFG_NF_IOSSTATE_IOSTERM(GPIO_165, UP_20K, DEEP, NF1, HIZCRX1, DISPUPD) /* EMMC_CMD */
		PAD_CFG_NF(GPIO_182, DN_20K, DEEP, NF1) /* EMMC_RCLK */

		/* SDIO -- unused */
		PAD_CFG_GPI(GPIO_166, UP_20K, DEEP)	 /* SDIO_CLK */
		PAD_CFG_GPI(GPIO_167, UP_20K, DEEP)	 /* SDIO_D0 */
		/* Configure SDIO to enable power gating */
		PAD_CFG_NF(GPIO_168, UP_20K, DEEP, NF1)	/* SDIO_D1 */
		PAD_CFG_GPI(GPIO_169, UP_20K, DEEP)	 /* SDIO_D2 */
		PAD_CFG_GPI(GPIO_170, UP_20K, DEEP)	 /* SDIO_D3 */
		PAD_CFG_GPI(GPIO_171, UP_20K, DEEP)	 /* SDIO_CMD */

		/* SDCARD */
		/* Pull down clock by 20K */
		PAD_CFG_NF(GPIO_172, DN_20K, DEEP, NF1) /* SDCARD_CLK */
		PAD_CFG_NF(GPIO_173, UP_20K, DEEP, NF1) /* SDCARD_D0 */
		PAD_CFG_NF(GPIO_174, UP_20K, DEEP, NF1) /* SDCARD_D1 */
		PAD_CFG_NF(GPIO_175, UP_20K, DEEP, NF1) /* SDCARD_D2 */
		PAD_CFG_NF(GPIO_176, UP_20K, DEEP, NF1) /* SDCARD_D3 */
		/* Card detect is active LOW with external pull up */
		PAD_CFG_NF(GPIO_177, NONE, DEEP, NF1) /* SDCARD_CD_N */
		PAD_CFG_NF(GPIO_178, UP_20K, DEEP, NF1) /* SDCARD_CMD */
		/* CLK feedback, internal signal, needs 20K pull down */
		PAD_CFG_NF(GPIO_179, DN_20K, DEEP, NF1) /* SDCARD_CLK_FB */
		/* No h/w write proect for uSD cards, pull down by 20K */
		PAD_CFG_NF(GPIO_186, DN_20K, DEEP, NF1) /* SDCARD_LVL_WP */
		/* EN_SD_SOCKET_PWR_L for SD slot power control. Default on */
		PAD_CFG_GPO(GPIO_183, 0, DEEP)		 /* SDIO_PWR_DOWN_N */

		/* SMBus -- unused */
		PAD_CFG_GPI(SMB_ALERTB, UP_20K, DEEP)	 /* SMB_ALERT _N */
		PAD_CFG_GPI(SMB_CLK, UP_20K, DEEP)	 /* SMB_CLK */
		PAD_CFG_GPI(SMB_DATA, UP_20K, DEEP)	 /* SMB_DATA */

		/* LPC */
		PAD_CFG_NF(LPC_ILB_SERIRQ, UP_20K, DEEP, NF1) /* LPC_SERIRQ */
		PAD_CFG_NF(LPC_CLKOUT0, NONE, DEEP, NF1) /* LPC_CLKOUT0 */
		PAD_CFG_NF(LPC_CLKOUT1, UP_20K, DEEP, NF1)
		PAD_CFG_NF(LPC_AD0, UP_20K, DEEP, NF1)	 /* LPC_AD0 */
		PAD_CFG_NF(LPC_AD1, UP_20K, DEEP, NF1)	 /* LPC_AD1 */
		PAD_CFG_NF(LPC_AD2, UP_20K, DEEP, NF1)	 /* LPC_AD2 */
		PAD_CFG_NF(LPC_AD3, UP_20K, DEEP, NF1)	 /* LPC_AD3 */
		PAD_CFG_NF(LPC_CLKRUNB, UP_20K, DEEP, NF1) /* LPC_CLKRUN_N */
		PAD_CFG_NF(LPC_FRAMEB, NATIVE, DEEP, NF1) /* LPC_FRAME_N */

		/* I2C0 - Audio */
		PAD_CFG_NF(GPIO_124, UP_2K, DEEP, NF1) /* LPSS_I2C0_SDA */
		PAD_CFG_NF(GPIO_125, UP_2K, DEEP, NF1) /* LPSS_I2C0_SCL */

		/* I2C1 - NFC with external pulls */
		PAD_CFG_NF(GPIO_126, NONE, DEEP, NF1) /* LPSS_I2C1_SDA */
		PAD_CFG_NF(GPIO_127, NONE, DEEP, NF1) /* LPSS_I2C1_SCL */

		/* I2C2 - TPM  */
		PAD_CFG_NF(GPIO_128, UP_2K, DEEP, NF1) /* LPSS_I2C2_SDA */
		PAD_CFG_NF(GPIO_129, UP_2K, DEEP, NF1) /* LPSS_I2C2_SCL */

		/* I2C3 - touch */
		PAD_CFG_NF(GPIO_130, UP_2K, DEEP, NF1) /* LPSS_I2C3_SDA */
		PAD_CFG_NF(GPIO_131, UP_2K, DEEP, NF1) /* LPSS_I2C3_SCL */

		/* I2C4 - trackpad */
		/* LPSS_I2C4_SDA */
		PAD_CFG_NF_IOSSTATE(GPIO_132, UP_2K, DEEP, NF1, HIZCRX1)
		/* LPSS_I2C4_SCL */
		PAD_CFG_NF_IOSSTATE(GPIO_133, UP_2K, DEEP, NF1, HIZCRX1)

		/* I2C5 -- pen with external pulls  */
		PAD_CFG_NF(GPIO_134, NONE, DEEP, NF1) /* LPSS_I2C5_SDA */
		PAD_CFG_NF(GPIO_135, NONE, DEEP, NF1) /* LPSS_I2C5_SCL */

		/* I2C6-7 -- unused */
		PAD_CFG_GPI(GPIO_136, UP_20K, DEEP)	 /* LPSS_I2C6_SDA */
		PAD_CFG_GPI(GPIO_137, UP_20K, DEEP)	 /* LPSS_I2C6_SCL */
		PAD_CFG_GPI(GPIO_138, UP_20K, DEEP)	 /* LPSS_I2C7_SDA */
		PAD_CFG_GPI(GPIO_139, UP_20K, DEEP)	 /* LPSS_I2C7_SCL */

		/* Audio Amp - I2S6 */
		PAD_CFG_NF(GPIO_146, NATIVE, DEEP, NF2) /* ISH_GPIO_0 - I2S6_BCLK */
		PAD_CFG_NF(GPIO_147, NATIVE, DEEP, NF2) /* ISH_GPIO_1 - I2S6_WS_SYNC */
		PAD_CFG_GPI(GPIO_148, UP_20K, DEEP)	 /* ISH_GPIO_2 - unused */
		PAD_CFG_NF(GPIO_149, NATIVE, DEEP, NF2) /* ISH_GPIO_3 - I2S6_SDO */

		/* NFC Reset */
		PAD_CFG_GPO(GPIO_150, 1, DEEP)		 /* ISH_GPIO_4 */

		PAD_CFG_GPI(GPIO_151, UP_20K, DEEP)	 /* ISH_GPIO_5 - unused */

		/* Touch enable */
		PAD_CFG_GPO(GPIO_152, 1, DEEP)		 /* ISH_GPIO_6 */

		PAD_CFG_GPI(GPIO_153, UP_20K, DEEP)	 /* ISH_GPIO_7 - unused */
		PAD_CFG_GPI(GPIO_154, UP_20K, DEEP)	 /* ISH_GPIO_8 - unused */
		PAD_CFG_GPI(GPIO_155, UP_20K, DEEP)	 /* ISH_GPIO_9 - unused */

		/* PCIE_CLKREQ[0:3]_N */
		PAD_CFG_NF(GPIO_209, NONE, DEEP, NF1)	 /* WLAN with external pull */
		PAD_CFG_GPI(GPIO_210, UP_20K, DEEP)	 /* unused */
		PAD_CFG_GPI(GPIO_211, UP_20K, DEEP)	 /* unused */
		PAD_CFG_GPI(GPIO_212, UP_20K, DEEP)	 /* unused */

		/* OSC_CLK_OUT_[0:4] -- unused */
		PAD_CFG_GPI(OSC_CLK_OUT_0, UP_20K, DEEP)
		PAD_CFG_GPI(OSC_CLK_OUT_1, UP_20K, DEEP)
		PAD_CFG_GPI(OSC_CLK_OUT_2, UP_20K, DEEP)
		PAD_CFG_GPI(OSC_CLK_OUT_3, UP_20K, DEEP)
		PAD_CFG_GPI(OSC_CLK_OUT_4, UP_20K, DEEP)

		/* PMU Signals */
		PAD_CFG_GPI(PMU_AC_PRESENT, UP_20K, DEEP) /* PMU_AC_PRESENT - unused */
		PAD_CFG_NF(PMU_BATLOW_B, UP_20K, DEEP, NF1) /* PMU_BATLOW_N */
		PAD_CFG_NF(PMU_PLTRST_B, NONE, DEEP, NF1) /* PMU_PLTRST_N */
		PAD_CFG_NF(PMU_PWRBTN_B, UP_20K, DEEP, NF1) /* PMU_PWRBTN_N */
		PAD_CFG_NF(PMU_RESETBUTTON_B, NONE, DEEP, NF1) /* PMU_RSTBTN_N */
		PAD_CFG_NF_IOSSTATE(PMU_SLP_S0_B, NONE, DEEP, NF1, IGNORE) /* PMU_SLP_S0_N */
		PAD_CFG_NF(PMU_SLP_S3_B, NONE, DEEP, NF1) /* PMU_SLP_S3_N */
		PAD_CFG_NF(PMU_SLP_S4_B, NONE, DEEP, NF1) /* PMU_SLP_S4_N */
		PAD_CFG_NF(PMU_SUSCLK, NONE, DEEP, NF1) /* PMU_SUSCLK */
		PAD_CFG_GPO(PMU_WAKE_B, 1, DEEP)	 /* EN_PP3300_EMMC */
		PAD_CFG_NF(SUS_STAT_B, NONE, DEEP, NF1) /* SUS_STAT_N */
		PAD_CFG_NF(SUSPWRDNACK, NONE, DEEP, NF1) /* SUSPWRDNACK */

		/* DDI[0:1] SDA and SCL -- unused */
		PAD_CFG_GPI(GPIO_187, UP_20K, DEEP)	 /* HV_DDI0_DDC_SDA */
		PAD_CFG_GPI(GPIO_188, UP_20K, DEEP)	 /* HV_DDI0_DDC_SCL */
		PAD_CFG_GPI(GPIO_189, UP_20K, DEEP)	 /* HV_DDI1_DDC_SDA */
		PAD_CFG_GPI(GPIO_190, UP_20K, DEEP)	 /* HV_DDI1_DDC_SCL */

		/* MIPI I2C -- unused */
		PAD_CFG_GPI(GPIO_191, UP_20K, DEEP)	 /* MIPI_I2C_SDA */
		PAD_CFG_GPI(GPIO_192, UP_20K, DEEP)	 /* MIPI_I2C_SCL */

		/* Panel 0 control */
		PAD_CFG_NF(GPIO_193, NATIVE, DEEP, NF1) /* PNL0_VDDEN */
		PAD_CFG_NF(GPIO_194, NATIVE, DEEP, NF1) /* PNL0_BKLTEN */
		PAD_CFG_NF(GPIO_195, NATIVE, DEEP, NF1) /* PNL0_BKLTCTL */

		/* Panel 1 control -- unused */
		PAD_CFG_NF(GPIO_196, NATIVE, DEEP, NF1) /* PNL1_VDDEN */
		PAD_CFG_NF(GPIO_197, NATIVE, DEEP, NF1) /* PNL1_BKLTEN */
		PAD_CFG_NF(GPIO_198, NATIVE, DEEP, NF1) /* PNL1_BKLTCTL */

		/* Hot plug detect */
		PAD_CFG_NF(GPIO_199, UP_20K, DEEP, NF2) /* HV_DDI1_HPD */
		PAD_CFG_NF(GPIO_200, UP_20K, DEEP, NF2) /* HV_DDI0_HPD */

		/* MDSI signals -- unused */
		PAD_CFG_GPI(GPIO_201, UP_20K, DEEP)	 /* MDSI_A_TE */
		PAD_CFG_GPI(GPIO_202, UP_20K, DEEP)	 /* MDSI_A_TE */

		/* USB overcurrent pins */
		PAD_CFG_NF(GPIO_203, UP_20K, DEEP, NF1) /* USB_OC0_N */
		PAD_CFG_NF(GPIO_204, UP_20K, DEEP, NF1) /* USB_OC1_N */

		/* PMC SPI -- almost entirely unused */
		PAD_CFG_GPI(PMC_SPI_FS0, UP_20K, DEEP)
		PAD_CFG_NF(PMC_SPI_FS1, UP_20K, DEEP, NF2) /* HV_DDI2_HPD -- EDP HPD */
		PAD_CFG_GPI(PMC_SPI_FS2, UP_20K, DEEP)
		PAD_CFG_GPI(PMC_SPI_RXD, UP_20K, DEEP)
		PAD_CFG_GPI(PMC_SPI_TXD, UP_20K, DEEP)
		PAD_CFG_GPI(PMC_SPI_CLK, UP_20K, DEEP)

		/* PMIC Signals Unused signals related to an old PMIC interface */
		PAD_CFG_NF_IOSSTATE(PMIC_RESET_B, NATIVE, DEEP, NF1, IGNORE) /* PMIC_RESET_B */
		PAD_CFG_GPI(GPIO_213, NONE, DEEP)	 /* unused external pull */
		PAD_CFG_GPI(GPIO_214, UP_20K, DEEP)	 /* unused */
		PAD_CFG_GPI(GPIO_215, UP_20K, DEEP)	 /* unused */
		PAD_CFG_NF(PMIC_THERMTRIP_B, UP_20K, DEEP, NF1) /* THERMTRIP_N */
		PAD_CFG_GPI(PMIC_STDBY, UP_20K, DEEP)	 /* unused */
		PAD_CFG_NF(PROCHOT_B, UP_20K, DEEP, NF1) /* PROCHOT_N */
		PAD_CFG_NF(PMIC_I2C_SCL, UP_1K, DEEP, NF1) /* PMIC_I2C_SCL */
		PAD_CFG_NF(PMIC_I2C_SDA, UP_1K, DEEP, NF1) /* PMIC_I2C_SDA */

		/* I2S1 -- largely unused */
		PAD_CFG_GPI(GPIO_74, UP_20K, DEEP)	/* I2S1_MCLK */
		PAD_CFG_GPI(GPIO_75, UP_20K, DEEP)	/* I2S1_BCLK -- PCH_WP */
		PAD_CFG_GPO(GPIO_76, 0, DEEP)		/* I2S1_WS_SYNC -- SPK_PA_EN */
		PAD_CFG_GPI(GPIO_77, UP_20K, DEEP)	/* I2S1_SDI */
		PAD_CFG_GPO(GPIO_78, 1, DEEP)		/* I2S1_SDO -- EN_PP3300_DX_LTE_SOC */

		/* DMIC or I2S4 */
		/* AVS_DMIC_CLK_A1 */
		PAD_CFG_NF_IOSSTATE(GPIO_79, NATIVE, DEEP, NF1, IGNORE)
		PAD_CFG_NF(GPIO_80, NATIVE, DEEP, NF1) /* AVS_DMIC_CLK_B1 */
		PAD_CFG_NF(GPIO_81, NATIVE, DEEP, NF1)	/* AVS_DMIC_DATA_1 */
		PAD_CFG_GPI(GPIO_82, DN_20K, DEEP)	 /* unused -- strap */
		PAD_CFG_NF(GPIO_83, NATIVE, DEEP, NF1) /* AVS_DMIC_DATA_2 */

		/* I2S2 -- Headset amp */
		PAD_CFG_NF(GPIO_84, NATIVE, DEEP, NF1)	 /* AVS_I2S2_MCLK */
		PAD_CFG_NF(GPIO_85, NATIVE, DEEP, NF1)	 /* AVS_I2S2_BCLK */
		PAD_CFG_NF(GPIO_86, NATIVE, DEEP, NF1)	 /* AVS_I2S2_SW_SYNC */
		PAD_CFG_NF(GPIO_87, NATIVE, DEEP, NF1)	 /* AVS_I2S2_SDI */
		PAD_CFG_NF(GPIO_88, NATIVE, DEEP, NF1)	 /* AVS_I2S2_SDO */

		/* I2S3 -- largely unused */
		PAD_CFG_GPI(GPIO_89, UP_20K, DEEP)	 /* unused */
		PAD_CFG_GPI(GPIO_90, UP_20K, DEEP)	 /* GPS_HOST_WAKE */
		PAD_CFG_GPO(GPIO_91, 1, DEEP)		 /* GPS_EN */
		PAD_CFG_GPI(GPIO_92, DN_20K, DEEP)	 /* unused -- strap */

		/* Fast SPI */
		PAD_CFG_NF_IOSSTATE(GPIO_97, NATIVE, DEEP, NF1, IGNORE)	/* FST_SPI_CS0_B */
		PAD_CFG_GPI(GPIO_98, UP_20K, DEEP)				/* FST_SPI_CS1_B -- unused */
		PAD_CFG_NF_IOSSTATE(GPIO_99, NATIVE, DEEP, NF1, IGNORE)	/* FST_SPI_MOSI_IO0 */
		PAD_CFG_NF_IOSSTATE(GPIO_100, NATIVE, DEEP, NF1, IGNORE)	/* FST_SPI_MISO_IO1 */
		PAD_CFG_GPI(GPIO_101, NONE, DEEP)				/* FST_IO2 -- MEM_CONFIG0 */
		PAD_CFG_GPI(GPIO_102, NONE, DEEP)				/* FST_IO3 -- MEM_CONFIG1 */
		PAD_CFG_NF_IOSSTATE(GPIO_103, NATIVE, DEEP, NF1, IGNORE)	/* FST_SPI_CLK */
		PAD_CFG_NF_IOSSTATE(FST_SPI_CLK_FB, NATIVE, DEEP, NF1, IGNORE) /* FST_SPI_CLK_FB */
		PAD_CFG_NF_IOSSTATE(GPIO_106, NATIVE, DEEP, NF3, IGNORE)	/* FST_SPI_CS2_N */

		/* SIO_SPI_0 - Used for FP */
		PAD_CFG_NF(GPIO_104, NATIVE, DEEP, NF1)			/* SIO_SPI_0_CLK */
		PAD_CFG_NF(GPIO_105, NATIVE, DEEP, NF1)			/* SIO_SPI_0_FS0 */
		PAD_CFG_NF(GPIO_109, NATIVE, DEEP, NF1)			/* SIO_SPI_0_RXD */
		PAD_CFG_NF(GPIO_110, NATIVE, DEEP, NF1)			/* SIO_SPI_0_TXD */

		/* SIO_SPI_1 -- largely unused */
		PAD_CFG_GPI(GPIO_111, UP_20K, DEEP)	 /* SIO_SPI_1_CLK */
		PAD_CFG_GPI(GPIO_112, UP_20K, DEEP)	 /* SIO_SPI_1_FS0 */
		PAD_CFG_GPI(GPIO_113, UP_20K, DEEP)	 /* SIO_SPI_1_FS1 */
		/* Headset interrupt */
		PAD_CFG_GPI_APIC_LOW(GPIO_116, NONE, DEEP) /* SIO_SPI_1_RXD */
		PAD_CFG_GPI(GPIO_117, UP_20K, DEEP)	 /* SIO_SPI_1_TXD */

		/* SIO_SPI_2 -- unused */
		PAD_CFG_GPI(GPIO_118, UP_20K, DEEP)	 /* SIO_SPI_2_CLK */
		PAD_CFG_GPI(GPIO_119, UP_20K, DEEP)	 /* SIO_SPI_2_FS0 */
		PAD_CFG_GPI(GPIO_120, UP_20K, DEEP)	 /* SIO_SPI_2_FS1 */
		PAD_CFG_GPI(GPIO_121, UP_20K, DEEP)	 /* SIO_SPI_2_FS2 */
		/* WLAN_PE_RST - default to deasserted */
		PAD_CFG_GPO(GPIO_122, 0, DEEP)		 /* SIO_SPI_2_RXD */
		PAD_CFG_GPI(GPIO_123, UP_20K, DEEP)	 /* SIO_SPI_2_TXD */

		/* Debug tracing */
		PAD_CFG_GPI(GPIO_0, UP_20K, DEEP)
		PAD_CFG_GPI(GPIO_1, UP_20K, DEEP)
		PAD_CFG_GPI(GPIO_2, UP_20K, DEEP)
		PAD_CFG_GPI_SCI_HIGH(GPIO_3, DN_20K, DEEP, LEVEL)	 /* FP_INT */
		PAD_CFG_GPI(GPIO_4, UP_20K, DEEP)
		PAD_CFG_GPI(GPIO_5, UP_20K, DEEP)
		PAD_CFG_GPI(GPIO_6, UP_20K, DEEP)
		PAD_CFG_GPI(GPIO_7, UP_20K, DEEP)
		PAD_CFG_GPI(GPIO_8, UP_20K, DEEP)

		PAD_CFG_GPI_APIC_LOW(GPIO_9, NONE, DEEP) /* dTPM IRQ */
		PAD_CFG_GPI(GPIO_10, DN_20K, DEEP)	 /* Board phase enforcement */
		PAD_CFG_GPI_SCI_LOW(GPIO_11, NONE, DEEP, EDGE_SINGLE) /* EC SCI  */
		PAD_CFG_GPI(GPIO_12, UP_20K, DEEP)	 /* unused */
		PAD_CFG_GPI_APIC_LOW(GPIO_13, NONE, DEEP) /* PEN_INT_ODL */
		PAD_CFG_GPI_APIC_HIGH(GPIO_14, DN_20K, DEEP) /* FP_INT */
		PAD_CFG_GPI_SCI_LOW(GPIO_15, NONE, DEEP, EDGE_SINGLE)	 /* TRACKPAD_INT_1V8_ODL */
		PAD_CFG_GPI(GPIO_16, UP_20K, DEEP)	 /* unused */
		PAD_CFG_GPI(GPIO_17, UP_20K, DEEP)	 /* 1 vs 4 DMIC config */
		PAD_CFG_GPI_APIC_LOW(GPIO_18, NONE, DEEP) /* Trackpad IRQ */
		PAD_CFG_GPI(GPIO_19, UP_20K, DEEP)	 /* unused */
		PAD_CFG_GPI_APIC_LOW(GPIO_20, UP_20K, DEEP) /* NFC IRQ */
		PAD_CFG_GPI_APIC_LOW(GPIO_21, NONE, DEEP) /* Touch IRQ */
		PAD_CFG_GPI_SCI_LOW(GPIO_22, NONE, DEEP, EDGE_SINGLE) /* EC wake */
		PAD_CFG_GPI(GPIO_23, UP_20K, DEEP)	 /* unused */
		PAD_CFG_GPI(GPIO_24, NONE, DEEP)	 /* PEN_PDCT_ODL */
		PAD_CFG_GPI(GPIO_25, UP_20K, DEEP)	 /* unused */
		PAD_CFG_GPI(GPIO_26, UP_20K, DEEP)	 /* unused */
		PAD_CFG_GPI(GPIO_27, UP_20K, DEEP)	 /* unused */
		PAD_CFG_GPI_APIC_LOW(GPIO_28, NONE, DEEP) /* TPM IRQ */
		PAD_CFG_GPO(GPIO_29, 1, DEEP)		 /* FP reset */
		PAD_CFG_GPI_APIC_LOW(GPIO_30, NONE, DEEP) /* KB IRQ */
		PAD_CFG_GPO(GPIO_31, 0, DEEP)		 /* NFC FW DL */
		PAD_CFG_NF(GPIO_32, NONE, DEEP, NF5)	 /* SUS_CLK2 */
		PAD_CFG_GPI_APIC_LOW(GPIO_33, NONE, DEEP) /* PMIC IRQ */
		PAD_CFG_GPI(GPIO_34, UP_20K, DEEP)	 /* unused */
		PAD_CFG_GPO(GPIO_35, 0, DEEP)		 /* PEN_RESET - active high */
		PAD_CFG_GPO(GPIO_36, 0, DEEP)		 /* touch reset */
		PAD_CFG_GPI(GPIO_37, UP_20K, DEEP)	 /* unused */

		/* LPSS_UART[0:2] */
		PAD_CFG_GPI(GPIO_38, NONE, DEEP)	 /* LPSS_UART0_RXD - MEM_CONFIG2*/
		/* Next 2 are straps */
		PAD_CFG_GPI(GPIO_39, DN_20K, DEEP)	 /* LPSS_UART0_TXD - unused */
		PAD_CFG_GPI(GPIO_40, DN_20K, DEEP)	 /* LPSS_UART0_RTS - unused */
		PAD_CFG_GPI(GPIO_41, NONE, DEEP)	 /* LPSS_UART0_CTS - EC_IN_RW */
		PAD_CFG_NF(GPIO_42, NATIVE, DEEP, NF1)	 /* LPSS_UART1_RXD */
		PAD_CFG_NF(GPIO_43, NATIVE, DEEP, NF1)	 /* LPSS_UART1_TXD */
		PAD_CFG_GPO(GPIO_44, 1, DEEP)	 /* GPS_RST_ODL */
		PAD_CFG_GPI(GPIO_45, NONE, DEEP)	 /* LPSS_UART1_CTS - MEM_CONFIG3 */
		PAD_CFG_NF(GPIO_46, NATIVE, DEEP, NF1)	 /* LPSS_UART2_RXD */
		PAD_CFG_NF_IOSSTATE(GPIO_47, NATIVE, DEEP, NF1, TX1_RX_DCR_X0) /* UART2 TX */
		PAD_CFG_GPI(GPIO_48, UP_20K, DEEP)	 /* LPSS_UART2_RTS - unused */
		PAD_CFG_GPI_SMI_LOW(GPIO_49, NONE, DEEP, EDGE_SINGLE) /* LPSS_UART2_CTS - EC_SMI_L */

		/* Camera interface -- completely unused */
		PAD_CFG_GPI(GPIO_62, UP_20K, DEEP)	 /* GP_CAMERASB00 */
		PAD_CFG_GPI(GPIO_63, UP_20K, DEEP)	 /* GP_CAMERASB01 */
		PAD_CFG_GPI(GPIO_64, UP_20K, DEEP)	 /* GP_CAMERASB02 */
		PAD_CFG_GPI(GPIO_65, UP_20K, DEEP)	 /* GP_CAMERASB03 */
		PAD_CFG_GPI(GPIO_66, UP_20K, DEEP)	 /* GP_CAMERASB04 */
		PAD_CFG_GPI(GPIO_67, UP_20K, DEEP)	 /* GP_CAMERASB05 */
		PAD_CFG_GPI(GPIO_68, UP_20K, DEEP)	 /* GP_CAMERASB06 */
		PAD_CFG_GPI(GPIO_69, UP_20K, DEEP)	 /* GP_CAMERASB07 */
		PAD_CFG_GPI(GPIO_70, UP_20K, DEEP)	 /* GP_CAMERASB08 */
		PAD_CFG_GPI(GPIO_71, UP_20K, DEEP)	 /* GP_CAMERASB09 */
		PAD_CFG_GPI(GPIO_72, UP_20K, DEEP)	 /* GP_CAMERASB10 */
		PAD_CFG_GPI(GPIO_73, UP_20K, DEEP)	 /* GP_CAMERASB11 */
	>;
};

&rtc {
	#address-cells = <1>;
	#size-cells = <0>;
	bootph-some-ram;
};
